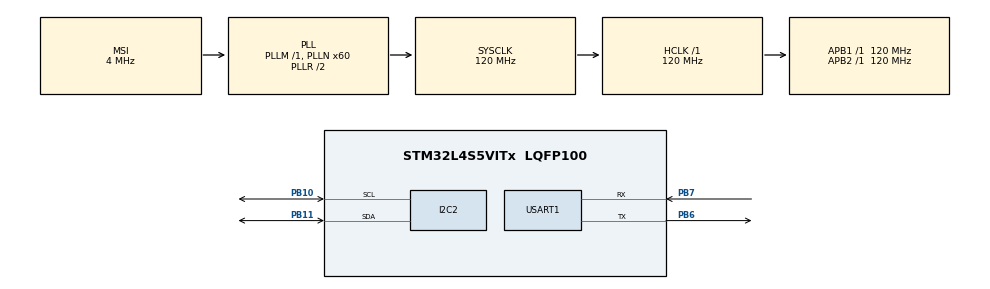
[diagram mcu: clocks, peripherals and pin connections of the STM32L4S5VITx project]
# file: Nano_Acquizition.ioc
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I2C2.Timing=0x30A175AB
Mcu.Family=STM32L4
Mcu.Name=STM32L4S5VITx
Mcu.Package=LQFP100
NVIC.PriorityGroup=NVIC_PRIORITYGROUP_4
PB10.Mode=I2C
PB10.Signal=I2C2_SCL
PB11.Mode=I2C
PB11.Signal=I2C2_SDA
PB6.Mode=Asynchronous
PB6.Signal=USART1_TX
PB7.Mode=Asynchronous
PB7.Signal=USART1_RX
ProjectManager.HeapSize=0x200
ProjectManager.StackSize=0x400
ProjectManager.TargetToolchain=STM32CubeIDE
RCC.ADCFreq_Value=48000000
RCC.AHBFreq_Value=120000000
RCC.APB1Freq_Value=120000000
RCC.APB1TimFreq_Value=120000000
RCC.APB2Freq_Value=120000000
RCC.APB2TimFreq_Value=120000000
RCC.CortexFreq_Value=120000000
RCC.HCLKFreq_Value=120000000
RCC.HSE_VALUE=8000000
RCC.HSI48_VALUE=48000000
RCC.HSI_VALUE=16000000
RCC.MSI_VALUE=4000000
RCC.PLLN=60
RCC.PLLSAI1N=24
RCC.SYSCLKFreq_VALUE=120000000
RCC.SYSCLKSource=RCC_SYSCLKSOURCE_PLLCLK
RCC.USBFreq_Value=48000000
RCC.VCOOutputFreq_Value=240000000
USART1.VirtualMode-Asynchronous=VM_ASYNC
board=B-L4S5I-IOT01A

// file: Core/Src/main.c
/* USER CODE BEGIN Header */
/**
  ******************************************************************************
  * @file           : main.c
  * @brief          : Main program body
  ******************************************************************************
  * @attention
  *
  * Copyright (c) 2026 STMicroelectronics.
  * All rights reserved.
  *
  * This software is licensed under terms that can be found in the LICENSE file
  * in the root directory of this software component.
  * If no LICENSE file comes with this software, it is provided AS-IS.
  *
  ******************************************************************************
  */
/* USER CODE END Header */
#include "main.h"

/* USER CODE BEGIN Includes */
#include "imu.h"
#include "string.h"
#include "stdio.h"
#include "NanoEdgeAI.h"
/* USER CODE END Includes */

/* USER CODE BEGIN PM */
#define DATA_INPUT_USER 256
#define AXIS_NUMBER 6

/* USER CODE END PM */

I2C_HandleTypeDef hi2c2;

UART_HandleTypeDef huart1;

/* USER CODE BEGIN PV */
float Imu_buffer[AXIS_NUMBER * DATA_INPUT_USER]={0};
float probabilities[NEAI_NUMBER_OF_CLASSES];
const char *id2class[NEAI_NUMBER_OF_CLASSES]={"Yaw","Shake","Roll","Pitch","Idle"};
/* USER CODE END PV */

void SystemClock_Config(void);
static void MX_GPIO_Init(void);
static void MX_I2C2_Init(void);
static void MX_USART1_UART_Init(void);
/* USER CODE BEGIN PFP */
void fill_imu_buffer();
void Log();
void Inference();
/* USER CODE END PFP */

/* USER CODE BEGIN 0 */
float ax, ay, az;
float gx, gy, gz;
/* USER CODE END 0 */

int main(void)
{

  /* MCU Configuration--------------------------------------------------------*/

  /* Reset of all peripherals, Initializes the Flash interface and the Systick. */
  HAL_Init();

  /* USER CODE BEGIN Init */
  enum neai_state error_code = neai_classification_init();
  	if (error_code != NEAI_OK) {
  		/* Check the returned error code (cf NanoEdgeAI.h). */
  		printf("Knowledge Initialization Error");
  		printf("%d",error_code);
  	}
  /* USER CODE END Init */

  /* Configure the system clock */
  SystemClock_Config();

  /* Initialize all configured peripherals */
  MX_GPIO_Init();
  MX_I2C2_Init();
  MX_USART1_UART_Init();
  /* USER CODE BEGIN 2 */
  IMU_Init();

 /* USER CODE END 2 */

  /* Infinite loop */
  while (1)
  {

    /* USER CODE BEGIN 3 */
	  Inference();
  }
  /* USER CODE END 3 */
}

void SystemClock_Config(void)
{
  RCC_OscInitTypeDef RCC_OscInitStruct = {0};
  RCC_ClkInitTypeDef RCC_ClkInitStruct = {0};

  /** Configure the main internal regulator output voltage
  */
  if (HAL_PWREx_ControlVoltageScaling(PWR_REGULATOR_VOLTAGE_SCALE1_BOOST) != HAL_OK)
  {
    Error_Handler();
  }

  /** Initializes the RCC Oscillators according to the specified parameters
  * in the RCC_OscInitTypeDef structure.
  */
  RCC_OscInitStruct.OscillatorType = RCC_OSCILLATORTYPE_MSI;
  RCC_OscInitStruct.MSIState = RCC_MSI_ON;
  RCC_OscInitStruct.MSICalibrationValue = 0;
  RCC_OscInitStruct.MSIClockRange = RCC_MSIRANGE_6;
  RCC_OscInitStruct.PLL.PLLState = RCC_PLL_ON;
  RCC_OscInitStruct.PLL.PLLSource = RCC_PLLSOURCE_MSI;
  RCC_OscInitStruct.PLL.PLLM = 1;
  RCC_OscInitStruct.PLL.PLLN = 60;
  RCC_OscInitStruct.PLL.PLLP = RCC_PLLP_DIV2;
  RCC_OscInitStruct.PLL.PLLQ = RCC_PLLQ_DIV2;
  RCC_OscInitStruct.PLL.PLLR = RCC_PLLR_DIV2;
  if (HAL_RCC_OscConfig(&RCC_OscInitStruct) != HAL_OK)
  {
    Error_Handler();
  }

  /** Initializes the CPU, AHB and APB buses clocks
  */
  RCC_ClkInitStruct.ClockType = RCC_CLOCKTYPE_HCLK|RCC_CLOCKTYPE_SYSCLK
                              |RCC_CLOCKTYPE_PCLK1|RCC_CLOCKTYPE_PCLK2;
  RCC_ClkInitStruct.SYSCLKSource = RCC_SYSCLKSOURCE_PLLCLK;
  RCC_ClkInitStruct.AHBCLKDivider = RCC_SYSCLK_DIV1;
  RCC_ClkInitStruct.APB1CLKDivider = RCC_HCLK_DIV1;
  RCC_ClkInitStruct.APB2CLKDivider = RCC_HCLK_DIV1;

  if (HAL_RCC_ClockConfig(&RCC_ClkInitStruct, FLASH_LATENCY_5) != HAL_OK)
  {
    Error_Handler();
  }
}

static void MX_I2C2_Init(void)
{

  hi2c2.Instance = I2C2;
  hi2c2.Init.Timing = 0x30A175AB;
  hi2c2.Init.OwnAddress1 = 0;
  hi2c2.Init.AddressingMode = I2C_ADDRESSINGMODE_7BIT;
  hi2c2.Init.DualAddressMode = I2C_DUALADDRESS_DISABLE;
  hi2c2.Init.OwnAddress2 = 0;
  hi2c2.Init.OwnAddress2Masks = I2C_OA2_NOMASK;
  hi2c2.Init.GeneralCallMode = I2C_GENERALCALL_DISABLE;
  hi2c2.Init.NoStretchMode = I2C_NOSTRETCH_DISABLE;
  if (HAL_I2C_Init(&hi2c2) != HAL_OK)
  {
    Error_Handler();
  }

  /** Configure Analogue filter
  */
  if (HAL_I2CEx_ConfigAnalogFilter(&hi2c2, I2C_ANALOGFILTER_ENABLE) != HAL_OK)
  {
    Error_Handler();
  }

  /** Configure Digital filter
  */
  if (HAL_I2CEx_ConfigDigitalFilter(&hi2c2, 0) != HAL_OK)
  {
    Error_Handler();
  }

}

static void MX_USART1_UART_Init(void)
{

  huart1.Instance = USART1;
  huart1.Init.BaudRate = 115200;
  huart1.Init.WordLength = UART_WORDLENGTH_8B;
  huart1.Init.StopBits = UART_STOPBITS_1;
  huart1.Init.Parity = UART_PARITY_NONE;
  huart1.Init.Mode = UART_MODE_TX_RX;
  huart1.Init.HwFlowCtl = UART_HWCONTROL_NONE;
  huart1.Init.OverSampling = UART_OVERSAMPLING_16;
  huart1.Init.OneBitSampling = UART_ONE_BIT_SAMPLE_DISABLE;
  huart1.Init.ClockPrescaler = UART_PRESCALER_DIV1;
  huart1.AdvancedInit.AdvFeatureInit = UART_ADVFEATURE_NO_INIT;
  if (HAL_UART_Init(&huart1) != HAL_OK)
  {
    Error_Handler();
  }
  if (HAL_UARTEx_SetTxFifoThreshold(&huart1, UART_TXFIFO_THRESHOLD_1_8) != HAL_OK)
  {
    Error_Handler();
  }
  if (HAL_UARTEx_SetRxFifoThreshold(&huart1, UART_RXFIFO_THRESHOLD_1_8) != HAL_OK)
  {
    Error_Handler();
  }
  if (HAL_UARTEx_DisableFifoMode(&huart1) != HAL_OK)
  {
    Error_Handler();
  }

}

static void MX_GPIO_Init(void)
{

  /* GPIO Ports Clock Enable */
  __HAL_RCC_GPIOB_CLK_ENABLE();

}

/* USER CODE BEGIN 4 */
void fill_imu_buffer()
{
	for (int i=0;i<DATA_INPUT_USER;i++){
		IMU_Read_Accel(&ax, &ay, &az);
		IMU_Read_Gyro(&gx, &gy, &gz);
		Imu_buffer[AXIS_NUMBER*i]=ax;
		Imu_buffer[AXIS_NUMBER*i+1]=ay;
		Imu_buffer[AXIS_NUMBER*i+2]=az;
		Imu_buffer[AXIS_NUMBER*i+3]=gx;
		Imu_buffer[AXIS_NUMBER*i+4]=gy;
		Imu_buffer[AXIS_NUMBER*i+5]=gz;
	}
}

void Inference()
{
	int id_class_t0, id_class_tn;
	fill_imu_buffer();
	neai_classification(Imu_buffer, probabilities, &id_class_t0);
	for(int i=0; i<3; i++)
	{
		fill_imu_buffer();
		neai_classification(Imu_buffer, probabilities, &id_class_tn);
		if(id_class_t0 != id_class_tn)
		{
			break;
		}
		if(id_class_t0 == id_class_tn)
		{
			printf("Detected Class:");
			printf(id2class[id_class_t0]);
			printf("\r\n");
		}
		else
		{
			printf("?");
			printf("\r\n");
		}
	}
}

int __io_putchar(int ch)
{
	HAL_UART_Transmit(&huart1,(uint8_t *)&ch,1,HAL_MAX_DELAY);
	return ch;
}

/* USER CODE END 4 */

void Error_Handler(void)
{
  __disable_irq();
  while (1)
  {
  }
}
